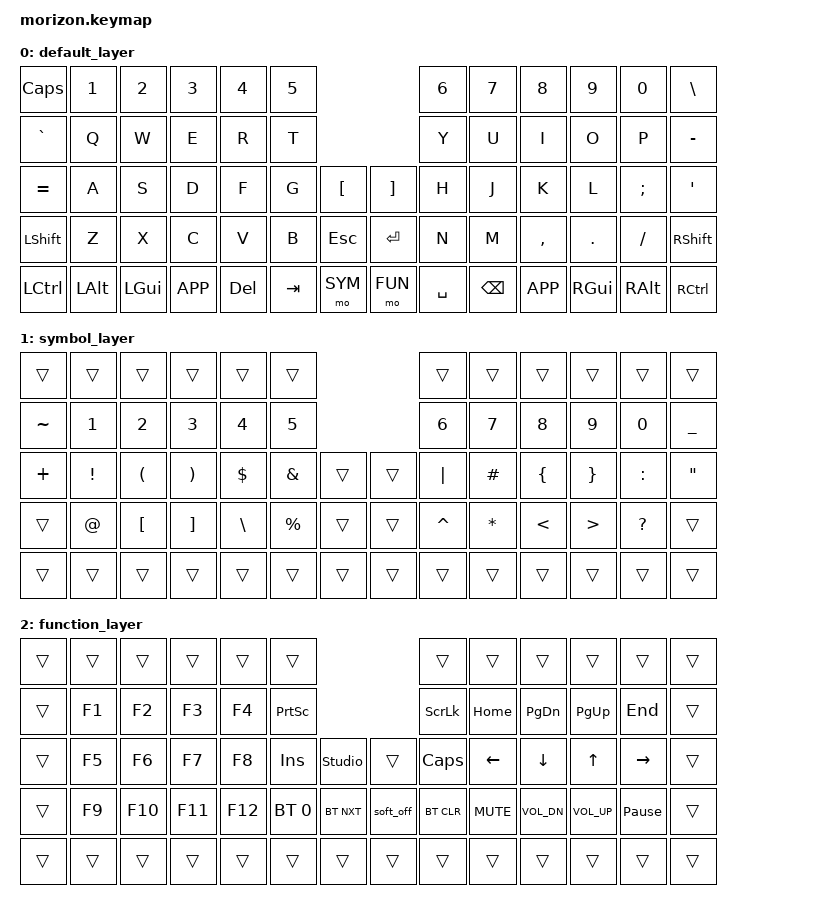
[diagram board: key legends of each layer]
/*
 * Copyright (c) 2022 The ZMK Contributors
 *
 * SPDX-License-Identifier: MIT
 */

#include <behaviors.dtsi>
#include <dt-bindings/zmk/keys.h>
#include <dt-bindings/zmk/bt.h>

#define DEF 0
#define SYM 1
#define FUN 2

/ {
    keymap {
        compatible = "zmk,keymap";

        default_layer {
            // -----------------------------------------------------------------------------------------------------------------
            // | CLCK  |   1   |   2   |   3   |   4   |   5   |---------------|   6   |   7   |   8   |   9   |   0   |   \   |
            // |   `   |   Q   |   W   |   E   |   R   |   T   |---------------|   Y   |   U   |   I   |   O   |   P   |   -   |
            // |   =   |   A   |   S   |   D   |   F   |   G   |   [   |   ]   |   H   |   J   |   K   |   L   |   ;   |   '   |
            // | LSHFT |   Z   |   X   |   C   |   V   |   B   |  ESC  | ENTER |   N   |   M   |   ,   |   .   |   /   | RSHFT |
            // | LCTRL | LALT  | LGUI  | K_APP |  DEL  |  TAB  |  SYM  |  FUN  | SPACE | BSPC  | K_APP | RGUI  | RALT  | RCTRL |
            bindings = <
                &kp CLCK  &kp N1   &kp N2   &kp N3    &kp N4  &kp N5                     &kp N6    &kp N7   &kp N8    &kp N9   &kp N0    &kp BSLH
                &kp GRAVE &kp Q    &kp W    &kp E     &kp R   &kp T                      &kp Y     &kp U    &kp I     &kp O    &kp P     &kp MINUS
                &kp EQUAL &kp A    &kp S    &kp D     &kp F   &kp G   &kp LBKT &kp RBKT  &kp H     &kp J    &kp K     &kp L    &kp SEMI  &kp SQT
                &kp LSHFT &kp Z    &kp X    &kp C     &kp V   &kp B   &kp ESC  &kp ENTER &kp N     &kp M    &kp COMMA &kp DOT  &kp SLASH &kp RSHFT
                &kp LCTRL &kp LALT &kp LGUI &kp K_APP &kp DEL &kp TAB &mo SYM  &mo FUN   &kp SPACE &kp BSPC &kp K_APP &kp RGUI &kp RALT  &kp RCTRL
            >;
        };

        symbol_layer {
            // -----------------------------------------------------------------------------------------------------------------
            // |       |       |       |       |       |       |---------------|       |       |       |       |       |       |
            // |   ~   |   1   |   2   |   3   |   4   |   5   |---------------|   6   |   7   |   8   |   9   |   0   |   _   |
            // |   +   |   !   |   (   |   )   |   $   |   &   |       |       |   |   |   #   |   {   |   }   |   :   |   "   |
            // |       |   @   |   [   |   ]   |   \   |   %   |       |       |   ^   |   *   |   <   |   >   |   ?   |       |
            // |       |       |       |       |       |       |       |       |       |       |       |       |       |       |
            bindings = <
                &trans    &trans   &trans   &trans   &trans   &trans                  &trans    &trans    &trans   &trans   &trans    &trans
                &kp TILDE &kp N1   &kp N2   &kp N3   &kp N4   &kp N5                  &kp N6    &kp N7    &kp N8   &kp N9   &kp N0    &kp UNDER
                &kp PLUS  &kp EXCL &kp LPAR &kp RPAR &kp DLLR &kp AMPS  &trans &trans &kp PIPE  &kp HASH  &kp LBRC &kp RBRC &kp COLON &kp DQT
                &trans    &kp AT   &kp LBKT &kp RBKT &kp BSLH &kp PRCNT &trans &trans &kp CARET &kp ASTRK &kp LT   &kp GT   &kp QMARK &trans
                &trans    &trans   &trans   &trans   &trans   &trans    &trans &trans &trans    &trans    &trans   &trans   &trans    &trans
            >;
        };

        function_layer {
            // -----------------------------------------------------------------------------------------------------------------
            // |       |       |       |       |       |       |---------------|       |       |       |       |       |       |
            // |       |  F1   |  F2   |  F3   |  F4   | PSCRN |---------------| SLCK  | HOME  | PG_DN | PG_UP |  END  |       |
            // |       |  F5   |  F6   |  F7   |  F8   |  INS  |STUDIO |       | CLCK  | LEFT  | DOWN  |  UP   | RIGHT |       |
            // |       |  F9   |  F10  |  F11  |  F12  |  BT0  |  BT+  | POWER | BTCLR | MUTE  | VOL-  | VOL+  | PS/BK |       |
            // |       |       |       |       |       |       |       |       |       |       |       |       |       |       |
            bindings = <
                &trans &trans  &trans   &trans   &trans  &trans                                &trans     &trans     &trans       &trans       &trans          &trans
                &trans &kp F1  &kp F2   &kp F3   &kp F4  &kp PSCRN                             &kp SLCK   &kp HOME   &kp PG_DN    &kp PG_UP    &kp END         &trans
                &trans &kp F5  &kp F6   &kp F7   &kp F8  &kp INS      &studio_unlock &trans    &kp CLCK   &kp LEFT   &kp DOWN     &kp UP       &kp RIGHT       &trans
                &trans &kp F9  &kp F10  &kp F11  &kp F12 &bt BT_SEL 0 &bt BT_NXT     &soft_off &bt BT_CLR &kp C_MUTE &kp C_VOL_DN &kp C_VOL_UP &kp PAUSE_BREAK &trans
                &trans &trans  &trans   &trans   &trans  &trans       &trans         &trans    &trans     &trans     &trans       &trans       &trans          &trans
            >;
        };
    };
};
